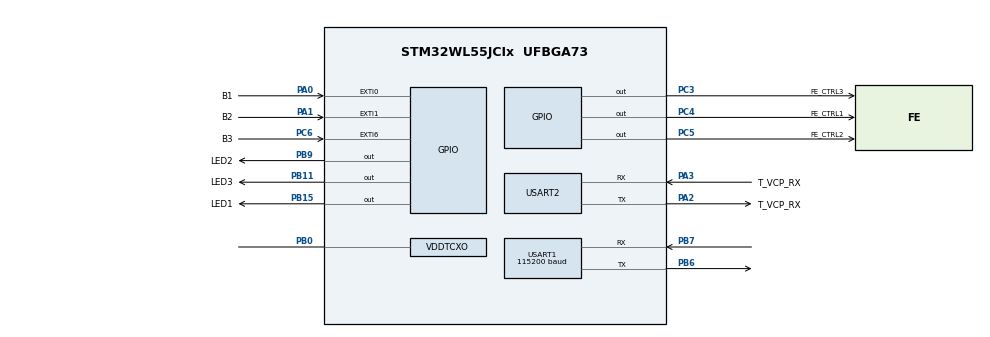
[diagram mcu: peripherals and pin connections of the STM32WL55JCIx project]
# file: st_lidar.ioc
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Mcu.Family=STM32WL
Mcu.Name=STM32WL55JCIx
Mcu.Package=UFBGA73
NVIC.EXTI9_5_IRQn=true\:1\:0\:true\:false\:true\:true\:true\:true
NVIC.PriorityGroup=NVIC_PRIORITYGROUP_4
NVIC.USART1_IRQn=true\:0\:0\:false\:false\:true\:true\:true\:true
OSC_IN.Mode=HSE-TCXO
OSC_IN.Signal=RCC_OSC_IN
PA0.GPIO_Label=B1
PA0.GPIO_ModeDefaultEXTI=GPIO_MODE_IT_FALLING
PA0.GPIO_PuPd=GPIO_PULLUP
PA0.Signal=GPXTI0
PA1.GPIO_Label=B2
PA1.GPIO_ModeDefaultEXTI=GPIO_MODE_IT_FALLING
PA1.GPIO_PuPd=GPIO_PULLUP
PA1.Signal=GPXTI1
PA13.Mode=Serial_Wire
PA13.Signal=DEBUG_JTMS-SWDIO
PA14.Mode=Serial_Wire
PA14.Signal=DEBUG_JTCK-SWCLK
PA2.GPIO_Label=T_VCP_RX
PA2.Mode=Asynchronous
PA2.Signal=USART2_TX
PA3.GPIO_Label=T_VCP_RX
PA3.Mode=Asynchronous
PA3.Signal=USART2_RX
PB0-VDD_TCXO.Mode=HSE-TCXO
PB0-VDD_TCXO.Signal=VDDTCXO
PB11.GPIO_Label=LED3
PB11.GPIO_Speed=GPIO_SPEED_FREQ_HIGH
PB11.Signal=GPIO_Output
PB15.GPIO_Label=LED1
PB15.GPIO_Speed=GPIO_SPEED_FREQ_HIGH
PB15.Signal=GPIO_Output
PB6.Mode=Asynchronous
PB6.Signal=USART1_TX
PB7.Mode=Asynchronous
PB7.Signal=USART1_RX
PB9.GPIO_FM9=__NULL
PB9.GPIO_Label=LED2
PB9.GPIO_Speed=GPIO_SPEED_FREQ_HIGH
PB9.Signal=GPIO_Output
PC14-OSC32_IN.Mode=LSE-External-Oscillator
PC14-OSC32_IN.Signal=RCC_OSC32_IN
PC15-OSC32_OUT.Mode=LSE-External-Oscillator
PC15-OSC32_OUT.Signal=RCC_OSC32_OUT
PC3.GPIO_Label=FE_CTRL3
PC3.GPIO_Speed=GPIO_SPEED_FREQ_VERY_HIGH
PC3.Signal=GPIO_Output
PC4.GPIO_Label=FE_CTRL1
PC4.GPIO_Speed=GPIO_SPEED_FREQ_VERY_HIGH
PC4.Signal=GPIO_Output
PC5.GPIO_Label=FE_CTRL2
PC5.GPIO_Speed=GPIO_SPEED_FREQ_VERY_HIGH
PC5.Signal=GPIO_Output
PC6.GPIO_Label=B3
PC6.GPIO_ModeDefaultEXTI=GPIO_MODE_IT_FALLING
PC6.GPIO_PuPd=GPIO_PULLUP
PC6.Signal=GPXTI6
ProjectManager.HeapSize=0x200
ProjectManager.StackSize=0x400
ProjectManager.TargetToolchain=STM32CubeIDE
RCC.HSE_VALUE=32000000
RCC.HSI_VALUE=16000000
RCC.LSE_VALUE=32768
RCC.VCOOutputFreq_Value=32000000
USART1.BaudRate=115200
USART1.VirtualMode-Asynchronous=VM_ASYNC
USART2.VirtualMode-Asynchronous=VM_ASYNC
board=NUCLEO-WL55JC2

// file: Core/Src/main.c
/* USER CODE BEGIN Header */
/**
  ******************************************************************************
  * @file           : main.c
  * @brief          : Main program body
  ******************************************************************************
  * @attention
  *
  * Copyright (c) 2022 STMicroelectronics.
  * All rights reserved.
  *
  * This software is licensed under terms that can be found in the LICENSE file
  * in the root directory of this software component.
  * If no LICENSE file comes with this software, it is provided AS-IS.
  *
  ******************************************************************************
  */
/* USER CODE END Header */
#include "main.h"

 UART_HandleTypeDef huart1;
UART_HandleTypeDef huart2;

/* USER CODE BEGIN PV */
uint8_t Lidar_rx_buffer[9] = {0x00}, state = 0;
uint16_t distance = 0, height = 0, height_object = 0, cnt = 0;
const uint8_t max_dist = 74, dist_th = 2;
const uint8_t Lidar_tx_enable[5] = {0x5A, 0x05, 0x07, 0x01, 0x67};
uint8_t Lidar_rx_cfg_buffer[5] = {0x00};
//Head：frame head of command frame(0x5A)
//Len：length of the frame, head and checksum included
//ID：identifier code of command -> Enable/Disable output
//1-Enable output
//Checksum：sum of all bytes from Head to payload. Lower 8 bits.

/* USER CODE END PV */

void SystemClock_Config(void);
static void MX_GPIO_Init(void);
static void MX_USART2_UART_Init(void);
static void MX_USART1_UART_Init(void);
/* USER CODE BEGIN PFP */
void HAL_UART_RxCpltCallback(UART_HandleTypeDef *huart);
/* USER CODE END PFP */

int main(void)
{

  /* MCU Configuration--------------------------------------------------------*/

  /* Reset of all peripherals, Initializes the Flash interface and the Systick. */
  HAL_Init();

  /* Configure the system clock */
  SystemClock_Config();

  /* Initialize all configured peripherals */
  MX_GPIO_Init();
  MX_USART2_UART_Init();
  MX_USART1_UART_Init();
  /* USER CODE BEGIN 2 */
  //PONER STATUS TYPEDEF

  HAL_UART_Transmit (&huart1, Lidar_tx_enable, 5, 100);	//Head：frame head of command frame(0x5A)
  HAL_UART_Receive (&huart1, Lidar_rx_cfg_buffer, 5, 100);
  HAL_UART_Receive_IT (&huart1, Lidar_rx_buffer, 9);
  //HAL_Delay(10);
//Len：length of the frame, head and checksum included
//ID：identifier code of command -> Enable/Disable output
//1-Enable output
//Checksum：sum of all bytes from Head to payload. Lower 8 bits.
  /* USER CODE END 2 */

  /* Infinite loop */
  /* USER CODE BEGIN WHILE */
  while (1)
  {

	  distance = (Lidar_rx_buffer[2] + (Lidar_rx_buffer[3] << 8));
	  if((max_dist - distance) < 0 || (max_dist - distance) == 1){	//To prevent overflow
		  height = 0;
	  }
	  else{
		  height = max_dist - distance;
	  }

	  switch (state) {
		case 0:
			if(height > dist_th){
				height_object = 0;
				HAL_GPIO_WritePin(GPIOB, LED1_Pin, GPIO_PIN_SET);
				state++;
			}
			break;
		case 1:
			if(height_object <= height)
				height_object = height;
			if(height <= dist_th){
				HAL_GPIO_WritePin(GPIOB, LED1_Pin, GPIO_PIN_RESET);
				cnt++;
				state = 0;
			}
			break;
		case 2:	//Reset, accessed via gpio interrupt
			height_object = 0;
			cnt = 0;
			state = 0;
			break;
		default:
			break;
	}

    /* USER CODE END WHILE */

  }
}

void SystemClock_Config(void)
{
  RCC_OscInitTypeDef RCC_OscInitStruct = {0};
  RCC_ClkInitTypeDef RCC_ClkInitStruct = {0};

  /** Configure LSE Drive Capability
  */
  HAL_PWR_EnableBkUpAccess();
  __HAL_RCC_LSEDRIVE_CONFIG(RCC_LSEDRIVE_LOW);

  /** Configure the main internal regulator output voltage
  */
  __HAL_PWR_VOLTAGESCALING_CONFIG(PWR_REGULATOR_VOLTAGE_SCALE2);

  /** Initializes the CPU, AHB and APB busses clocks
  */
  RCC_OscInitStruct.OscillatorType = RCC_OSCILLATORTYPE_LSE|RCC_OSCILLATORTYPE_MSI;
  RCC_OscInitStruct.LSEState = RCC_LSE_ON;
  RCC_OscInitStruct.MSIState = RCC_MSI_ON;
  RCC_OscInitStruct.MSICalibrationValue = RCC_MSICALIBRATION_DEFAULT;
  RCC_OscInitStruct.MSIClockRange = RCC_MSIRANGE_6;
  RCC_OscInitStruct.PLL.PLLState = RCC_PLL_NONE;
  if (HAL_RCC_OscConfig(&RCC_OscInitStruct) != HAL_OK)
  {
    Error_Handler();
  }

  /** Configure the SYSCLKSource, HCLK, PCLK1 and PCLK2 clocks dividers
  */
  RCC_ClkInitStruct.ClockType = RCC_CLOCKTYPE_HCLK3|RCC_CLOCKTYPE_HCLK
                              |RCC_CLOCKTYPE_SYSCLK|RCC_CLOCKTYPE_PCLK1
                              |RCC_CLOCKTYPE_PCLK2;
  RCC_ClkInitStruct.SYSCLKSource = RCC_SYSCLKSOURCE_MSI;
  RCC_ClkInitStruct.AHBCLKDivider = RCC_SYSCLK_DIV1;
  RCC_ClkInitStruct.APB1CLKDivider = RCC_HCLK_DIV1;
  RCC_ClkInitStruct.APB2CLKDivider = RCC_HCLK_DIV1;
  RCC_ClkInitStruct.AHBCLK3Divider = RCC_SYSCLK_DIV1;

  if (HAL_RCC_ClockConfig(&RCC_ClkInitStruct, FLASH_LATENCY_0) != HAL_OK)
  {
    Error_Handler();
  }
}

static void MX_USART1_UART_Init(void)
{

  huart1.Instance = USART1;
  huart1.Init.BaudRate = 115200;
  huart1.Init.WordLength = UART_WORDLENGTH_8B;
  huart1.Init.StopBits = UART_STOPBITS_1;
  huart1.Init.Parity = UART_PARITY_NONE;
  huart1.Init.Mode = UART_MODE_TX_RX;
  huart1.Init.HwFlowCtl = UART_HWCONTROL_NONE;
  huart1.Init.OverSampling = UART_OVERSAMPLING_16;
  huart1.Init.OneBitSampling = UART_ONE_BIT_SAMPLE_DISABLE;
  huart1.Init.ClockPrescaler = UART_PRESCALER_DIV1;
  huart1.AdvancedInit.AdvFeatureInit = UART_ADVFEATURE_NO_INIT;
  if (HAL_UART_Init(&huart1) != HAL_OK)
  {
    Error_Handler();
  }
  if (HAL_UARTEx_SetTxFifoThreshold(&huart1, UART_TXFIFO_THRESHOLD_1_8) != HAL_OK)
  {
    Error_Handler();
  }
  if (HAL_UARTEx_SetRxFifoThreshold(&huart1, UART_RXFIFO_THRESHOLD_1_8) != HAL_OK)
  {
    Error_Handler();
  }
  if (HAL_UARTEx_DisableFifoMode(&huart1) != HAL_OK)
  {
    Error_Handler();
  }

}

static void MX_USART2_UART_Init(void)
{

  huart2.Instance = USART2;
  huart2.Init.BaudRate = 115200;
  huart2.Init.WordLength = UART_WORDLENGTH_8B;
  huart2.Init.StopBits = UART_STOPBITS_1;
  huart2.Init.Parity = UART_PARITY_NONE;
  huart2.Init.Mode = UART_MODE_TX_RX;
  huart2.Init.HwFlowCtl = UART_HWCONTROL_NONE;
  huart2.Init.OverSampling = UART_OVERSAMPLING_16;
  huart2.Init.OneBitSampling = UART_ONE_BIT_SAMPLE_DISABLE;
  huart2.Init.ClockPrescaler = UART_PRESCALER_DIV1;
  huart2.AdvancedInit.AdvFeatureInit = UART_ADVFEATURE_NO_INIT;
  if (HAL_UART_Init(&huart2) != HAL_OK)
  {
    Error_Handler();
  }
  if (HAL_UARTEx_SetTxFifoThreshold(&huart2, UART_TXFIFO_THRESHOLD_1_8) != HAL_OK)
  {
    Error_Handler();
  }
  if (HAL_UARTEx_SetRxFifoThreshold(&huart2, UART_RXFIFO_THRESHOLD_1_8) != HAL_OK)
  {
    Error_Handler();
  }
  if (HAL_UARTEx_DisableFifoMode(&huart2) != HAL_OK)
  {
    Error_Handler();
  }

}

static void MX_GPIO_Init(void)
{
  GPIO_InitTypeDef GPIO_InitStruct = {0};

  /* GPIO Ports Clock Enable */
  __HAL_RCC_GPIOA_CLK_ENABLE();
  __HAL_RCC_GPIOB_CLK_ENABLE();
  __HAL_RCC_GPIOC_CLK_ENABLE();

  /*Configure GPIO pin Output Level */
  HAL_GPIO_WritePin(GPIOB, LED1_Pin|LED2_Pin|LED3_Pin, GPIO_PIN_RESET);

  /*Configure GPIO pin Output Level */
  HAL_GPIO_WritePin(GPIOC, FE_CTRL3_Pin|FE_CTRL2_Pin|FE_CTRL1_Pin, GPIO_PIN_RESET);

  /*Configure GPIO pins : LED1_Pin LED2_Pin LED3_Pin */
  GPIO_InitStruct.Pin = LED1_Pin|LED2_Pin|LED3_Pin;
  GPIO_InitStruct.Mode = GPIO_MODE_OUTPUT_PP;
  GPIO_InitStruct.Pull = GPIO_NOPULL;
  GPIO_InitStruct.Speed = GPIO_SPEED_FREQ_HIGH;
  HAL_GPIO_Init(GPIOB, &GPIO_InitStruct);

  /*Configure GPIO pins : FE_CTRL3_Pin FE_CTRL2_Pin FE_CTRL1_Pin */
  GPIO_InitStruct.Pin = FE_CTRL3_Pin|FE_CTRL2_Pin|FE_CTRL1_Pin;
  GPIO_InitStruct.Mode = GPIO_MODE_OUTPUT_PP;
  GPIO_InitStruct.Pull = GPIO_NOPULL;
  GPIO_InitStruct.Speed = GPIO_SPEED_FREQ_VERY_HIGH;
  HAL_GPIO_Init(GPIOC, &GPIO_InitStruct);

  /*Configure GPIO pins : B1_Pin B2_Pin */
  GPIO_InitStruct.Pin = B1_Pin|B2_Pin;
  GPIO_InitStruct.Mode = GPIO_MODE_IT_FALLING;
  GPIO_InitStruct.Pull = GPIO_PULLUP;
  HAL_GPIO_Init(GPIOA, &GPIO_InitStruct);

  /*Configure GPIO pin : B3_Pin */
  GPIO_InitStruct.Pin = B3_Pin;
  GPIO_InitStruct.Mode = GPIO_MODE_IT_FALLING;
  GPIO_InitStruct.Pull = GPIO_PULLUP;
  HAL_GPIO_Init(B3_GPIO_Port, &GPIO_InitStruct);

  /* EXTI interrupt init*/
  HAL_NVIC_SetPriority(EXTI9_5_IRQn, 1, 0);
  HAL_NVIC_EnableIRQ(EXTI9_5_IRQn);

}

/* USER CODE BEGIN 4 */
void HAL_UART_RxCpltCallback(UART_HandleTypeDef *huart)
{
	HAL_UART_Receive_IT (&huart1, Lidar_rx_buffer, 9);
}

// EXTI Line9 External Interrupt ISR Handler CallBackFun
void HAL_GPIO_EXTI_Callback(uint16_t GPIO_Pin)
{
    if(GPIO_Pin == B3_Pin) // If The INT Source Is button 3
    {
    	state = 2;
    }
}
/* USER CODE END 4 */

void Error_Handler(void)
{
  __disable_irq();
  while (1)
  {
  }
}
